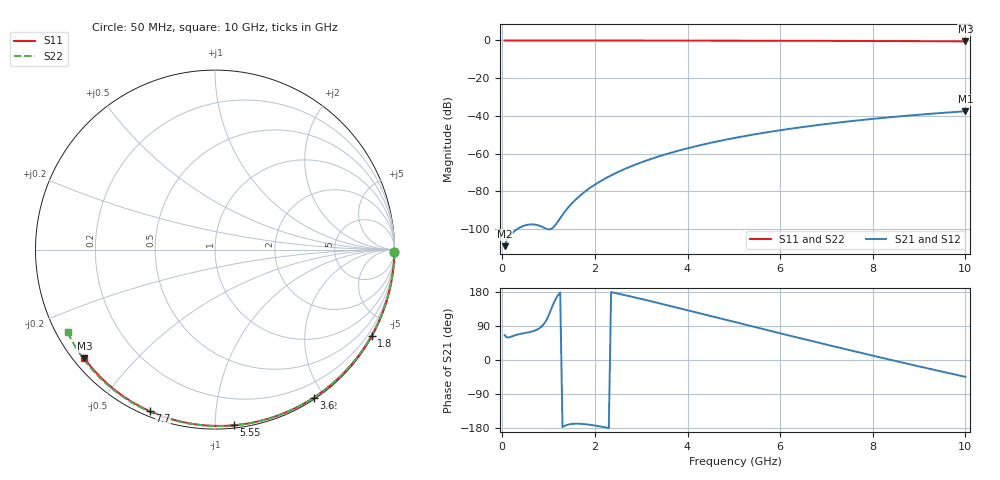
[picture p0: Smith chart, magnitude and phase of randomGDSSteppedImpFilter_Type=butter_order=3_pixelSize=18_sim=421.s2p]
! freq	dB(S11)	phase(S11)	dB(S12)	phase(S12)
!  dB(S21)	phase(S21)	dB(S22)	phase(S22)
!S-par simulation data
#  GHz  S  DB  R 50
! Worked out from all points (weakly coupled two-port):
!   200 points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, 50 MHz to 10 GHz, reference 50 ohm
!   highest |S21| = -37.51 dB at 10 GHz (marker M1); lowest = -109.0 dB at 50 MHz (marker M2)
!   lowest |S11| = -0.5 dB at 10 GHz (marker M3), VSWR 36.59, Z = 1.55 - j18.1 ohm
!   |S11| at or under -10 dB: nowhere
!   |S22| runs from -0.5 to 0.0 dB; largest |S21 - S12| = 0
!   S11 on the Smith chart (normalised r, x): 50 MHz: open; 1.8 GHz: 0.03, -3.89; 3.6 GHz: 0.02, -1.87; 5.55 GHz: 0.02, -1.11; 7.7 GHz: 0.02, -0.68; 10 GHz: 0.03, -0.36
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0.05  -0.00 -0.8  -108.98 65.9  -108.98 65.9  -0.00 -0.9
0.45  -0.01 -7.3  -98.31 70.3  -98.31 70.3  -0.01 -7.8
0.9  -0.02 -14.6  -99.20 95.4  -99.20 95.4  -0.02 -15.6
1.3  -0.03 -21.0  -92.37 -177.1  -92.37 -177.1  -0.03 -22.4
1.75  -0.04 -28.1  -80.74 -169.0  -80.74 -169.0  -0.04 -29.9
1.8  -0.04 -28.9  -79.78 -169.6  -79.78 -169.6  -0.04 -30.8
1.95  -0.04 -31.2  -77.16 -172.0  -77.16 -172.0  -0.04 -33.3
2.1  -0.04 -33.5  -74.85 -175.0  -74.85 -175.0  -0.05 -35.8
2.3  -0.05 -36.7  -72.11 -179.7  -72.11 -179.7  -0.05 -39.1
2.5  -0.05 -39.7  -69.68 175.2  -69.68 175.2  -0.05 -42.4
2.9  -0.06 -45.8  -65.53 164.1  -65.53 164.1  -0.06 -48.8
3.4  -0.07 -53.3  -61.27 149.4  -61.27 149.4  -0.08 -56.8
3.6  -0.08 -56.3  -59.79 143.4  -59.79 143.4  -0.08 -60.0
4.3  -0.09 -66.5  -55.33 122.1  -55.33 122.1  -0.10 -70.8
5.05  -0.12 -77.1  -51.49 99.3  -51.49 99.3  -0.13 -82.0
5.55  -0.14 -83.9  -49.31 84.1  -49.31 84.1  -0.15 -89.3
6.1  -0.16 -91.3  -47.20 67.5  -47.20 67.5  -0.17 -97.1
6.7  -0.19 -99.2  -45.17 49.6  -45.17 49.6  -0.21 -105.5
7.7  -0.26 -111.9  -42.30 20.1  -42.30 20.1  -0.27 -119.2
8.35  -0.31 -120.0  -40.72 1.4  -40.72 1.4  -0.33 -127.9
9.2  -0.39 -130.4  -38.94 -22.5  -38.94 -22.5  -0.42 -139.5
10  -0.47 -140.2  -37.51 -44.4  -37.51 -44.4  -0.53 -150.8
